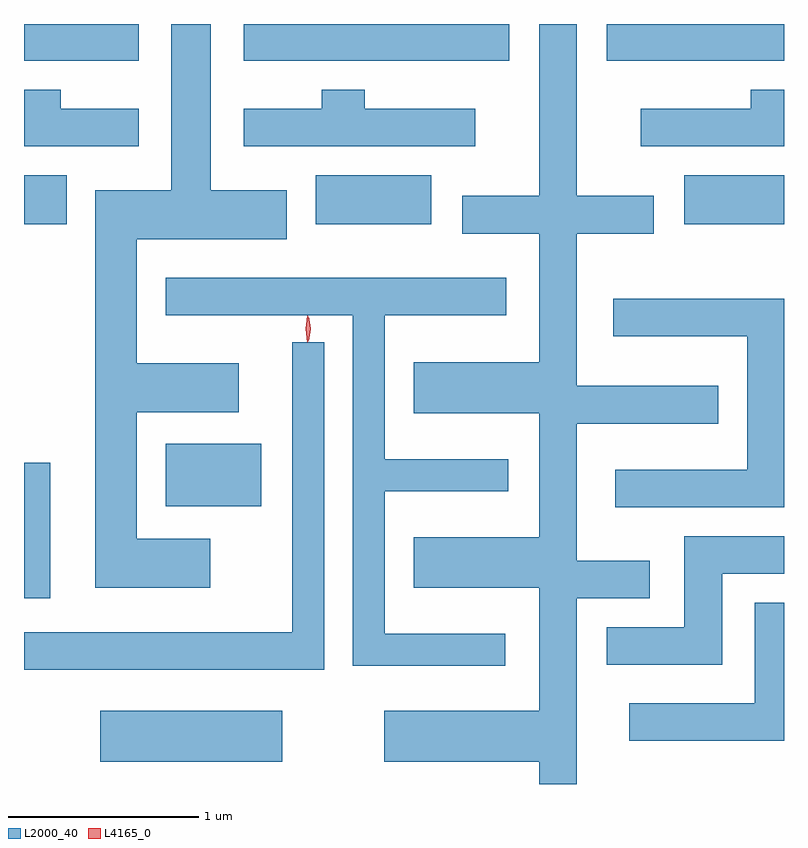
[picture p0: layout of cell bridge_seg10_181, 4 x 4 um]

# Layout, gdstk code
import gdstk
lib = gdstk.Library(unit=1e-6, precision=1e-09)
def R(c, l, rs):  # rectangles x0, y0, x1, y1
    for r in rs: c.add(gdstk.rectangle(r[:2], r[2:], *l))
def P(c, l, *ps):  # polygons
    for p in ps: c.add(gdstk.Polygon(p, *l))
L2000_40 = (2000, 40)
L4165_0 = (4165, 0)

bridge_seg10_181 = lib.new_cell('bridge_seg10_181')
R(bridge_seg10_181, L2000_40, [(1886.421,2139.966,1887.379,2140.234), (1886.02,2140.826,1886.159,2141.539), (1886.766,2141.311,1887.269,2141.639), (1886.02,2142.796,1886.244,2143.054), (1887.556,2142.796,1888.164,2143.054), (1889.496,2142.796,1890.02,2143.054), (1886.02,2143.656,1886.624,2143.849), (1887.176,2143.656,1888.574,2143.849), (1889.086,2143.656,1890.02,2143.849)])
P(bridge_seg10_181, L2000_40, [(1888.929,2140.826),(1889.314,2140.826),(1889.314,2141.024),(1888.929,2141.024),(1888.929,2141.746),(1889.674,2141.746),(1889.674,2141.944),(1888.929,2141.944),(1888.929,2142.746),(1889.334,2142.746),(1889.334,2142.944),(1888.929,2142.944),(1888.929,2143.849),(1888.731,2143.849),(1888.731,2142.944),(1888.326,2142.944),(1888.326,2142.746),(1888.731,2142.746),(1888.731,2142.069),(1888.071,2142.069),(1888.071,2141.801),(1888.731,2141.801),(1888.731,2141.149),(1888.071,2141.149),(1888.071,2140.881),(1888.731,2140.881),(1888.731,2140.234),(1887.916,2140.234),(1887.916,2139.966),(1888.731,2139.966),(1888.731,2139.849),(1888.929,2139.849)],
  [(1886.999,2141.139),(1886.614,2141.139),(1886.614,2141.806),(1887.149,2141.806),(1887.149,2142.064),(1886.614,2142.064),(1886.614,2142.716),(1887.404,2142.716),(1887.404,2142.974),(1887.004,2142.974),(1887.004,2143.849),(1886.796,2143.849),(1886.796,2142.974),(1886.396,2142.974),(1886.396,2140.881),(1886.999,2140.881)],
  [(1888.394,2143.404),(1887.814,2143.404),(1887.814,2143.504),(1887.586,2143.504),(1887.586,2143.404),(1887.176,2143.404),(1887.176,2143.206),(1888.394,2143.206)],
  [(1886.624,2143.404),(1886.214,2143.404),(1886.214,2143.504),(1886.02,2143.504),(1886.02,2143.206),(1886.624,2143.206)],
  [(1890.02,2143.504),(1889.846,2143.504),(1889.846,2143.404),(1889.266,2143.404),(1889.266,2143.206),(1890.02,2143.206)],
  [(1888.553,2140.639),(1887.919,2140.639),(1887.919,2141.391),(1888.568,2141.391),(1888.568,2141.559),(1887.919,2141.559),(1887.919,2142.316),(1888.559,2142.316),(1888.559,2142.514),(1886.766,2142.514),(1886.766,2142.316),(1887.751,2142.316),(1887.751,2140.471),(1888.553,2140.471)],
  [(1890.02,2142.404),(1889.121,2142.404),(1889.121,2142.206),(1889.826,2142.206),(1889.826,2141.504),(1889.131,2141.504),(1889.131,2141.306),(1890.02,2141.306)],
  [(1887.599,2142.173),(1887.431,2142.173),(1887.431,2140.649),(1886.02,2140.649),(1886.02,2140.451),(1887.599,2140.451)],
  [(1889.694,2140.956),(1890.02,2140.956),(1890.02,2141.154),(1889.496,2141.154),(1889.496,2140.674),(1889.086,2140.674),(1889.086,2140.476),(1889.694,2140.476)],
  [(1890.02,2140.804),(1889.866,2140.804),(1889.866,2140.274),(1889.206,2140.274),(1889.206,2140.076),(1890.02,2140.076)])
P(bridge_seg10_181, L4165_0, [(1887.518,2142.178),(1887.518,2142.178),(1887.508,2142.244),(1887.518,2142.31),(1887.519,2142.311),(1887.519,2142.31),(1887.528,2142.244),(1887.519,2142.178)],
  [(1887.513,2142.174),(1887.512,2142.175),(1887.503,2142.244),(1887.512,2142.313),(1887.513,2142.314),(1887.513,2142.313),(1887.523,2142.244),(1887.513,2142.175)])

lib.write_gds('bridge_seg10_181.gds')
